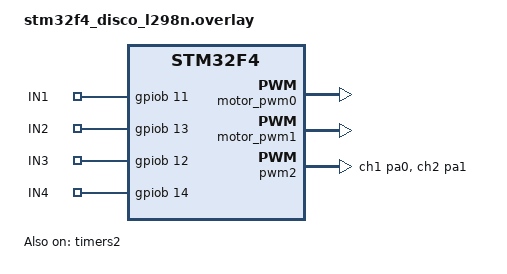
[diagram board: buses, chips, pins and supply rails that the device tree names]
/{
    aliases {
        in1 = &in1_pin;
        in2 = &in2_pin;
        in3 = &in3_pin;
        in4 = &in4_pin;
        pmotor = &motor_pwm0;
        pmotort = &motor_pwm1;
    };

    gpio_keys {
        compatible = "gpio-keys";
        in1_pin: in1_pin{
            gpios = <&gpiob 11 GPIO_ACTIVE_HIGH>;
            label = "IN1";
        };

        in2_pin: in2_pin{
            gpios = <&gpiob 13 GPIO_ACTIVE_HIGH>;
            label = "IN2";
        };

        in3_pin: in3_pin{
            gpios = <&gpiob 12 GPIO_ACTIVE_HIGH>;
            label = "IN3";
        };

        in4_pin: in4_pin{
            gpios = <&gpiob 14 GPIO_ACTIVE_HIGH>;
            label = "IN4";
        };
    };
    
    pwm_motor {
        compatible = "pwm-leds";

        motor_pwm0: motor_pwm0  {
            status = "okay";
            pwms = <&pwm2 1 PWM_USEC(1000) PWM_POLARITY_NORMAL>;
            label = "ENA_PWM";
        };

        motor_pwm1: motor_pwm1 {
            status = "okay";
            pwms = <&pwm2 2 PWM_USEC(1000) PWM_POLARITY_NORMAL>;
            label = "ENA2_PWM";
        };


    };

};



&timers2 {
    status = "okay";
};

&pwm2 {
    status = "okay";
    pinctrl-0 = <&tim2_ch1_pa0 &tim2_ch2_pa1>;
    pinctrl-names = "default";
};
